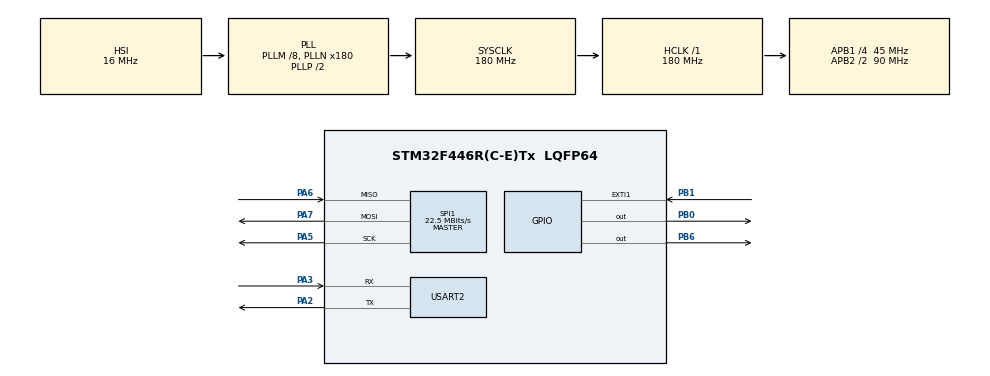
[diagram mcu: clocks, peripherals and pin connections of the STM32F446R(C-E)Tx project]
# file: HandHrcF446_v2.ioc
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Mcu.Family=STM32F4
Mcu.Name=STM32F446R(C-E)Tx
Mcu.Package=LQFP64
NVIC.EXTI1_IRQn=true\:0\:0\:false\:false\:true\:true\:true\:true
NVIC.PriorityGroup=NVIC_PRIORITYGROUP_4
NVIC.TIM2_IRQn=true\:0\:0\:false\:false\:true\:true\:true\:true
PA13.Mode=Serial_Wire
PA13.Signal=SYS_JTMS-SWDIO
PA14.Mode=Serial_Wire
PA14.Signal=SYS_JTCK-SWCLK
PA2.Mode=Asynchronous
PA2.Signal=USART2_TX
PA3.Mode=Asynchronous
PA3.Signal=USART2_RX
PA4.Signal=SPI1_NSS
PA5.Mode=Full_Duplex_Master
PA5.Signal=SPI1_SCK
PA6.Mode=Full_Duplex_Master
PA6.Signal=SPI1_MISO
PA7.Mode=Full_Duplex_Master
PA7.Signal=SPI1_MOSI
PB0.PinState=GPIO_PIN_SET
PB0.Signal=GPIO_Output
PB1.GPIO_ModeDefaultEXTI=GPIO_MODE_IT_FALLING
PB1.GPIO_PuPd=GPIO_PULLUP
PB1.Signal=GPXTI1
PB6.PinState=GPIO_PIN_SET
PB6.Signal=GPIO_Output
ProjectManager.HeapSize=0x200
ProjectManager.StackSize=0x400
ProjectManager.TargetToolchain=STM32CubeIDE
RCC.AHBFreq_Value=180000000
RCC.APB1CLKDivider=RCC_HCLK_DIV4
RCC.APB1Freq_Value=45000000
RCC.APB1TimFreq_Value=90000000
RCC.APB2CLKDivider=RCC_HCLK_DIV2
RCC.APB2Freq_Value=90000000
RCC.APB2TimFreq_Value=180000000
RCC.CortexFreq_Value=180000000
RCC.HCLKFreq_Value=180000000
RCC.PLLM=8
RCC.PLLN=180
RCC.SYSCLKFreq_VALUE=180000000
RCC.SYSCLKSource=RCC_SYSCLKSOURCE_PLLCLK
RCC.USBFreq_Value=180000000
RCC.VCOOutputFreq_Value=360000000
SPI1.BaudRatePrescaler=SPI_BAUDRATEPRESCALER_4
SPI1.CalculateBaudRate=22.5 MBits/s
SPI1.Direction=SPI_DIRECTION_2LINES
SPI1.Mode=SPI_MODE_MASTER
SPI1.VirtualType=VM_MASTER
TIM2.Period=15
TIM2.Prescaler=999
USART2.VirtualMode=VM_ASYNC
VP_TIM2_VS_ClockSourceINT.Mode=Internal
board=custom

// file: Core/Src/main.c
/* USER CODE BEGIN Header */
/**
  ******************************************************************************
  * @file           : main.c
  * @brief          : Main program body
  ******************************************************************************
  * @attention
  *
  * Copyright (c) 2026 STMicroelectronics.
  * All rights reserved.
  *
  * This software is licensed under terms that can be found in the LICENSE file
  * in the root directory of this software component.
  * If no LICENSE file comes with this software, it is provided AS-IS.
  *
  ******************************************************************************
  */
/* USER CODE END Header */
#include "main.h"
#include "spi.h"
#include "tim.h"
#include "usart.h"
#include "gpio.h"

/* USER CODE BEGIN Includes */

#include <stdio.h>      // For printf
#include <string.h>     // <--- REQUIRED for memset
#include "soes_test.h"
#include "esc_sheet.h"
#include "ecat_slv.h"   // <--- Fixes "implicit declaration of library functions"

/* USER CODE END Includes */

/* USER CODE BEGIN PD */
#warning "BUILDING V2"

/* USER CODE END PD */

void SystemClock_Config(void);
/* USER CODE BEGIN PFP */

void LAN9252_SPI_ProofOfLife(void);
void LAN9252_WriteReadback_Test(void);

/* USER CODE END PFP */

/* USER CODE BEGIN 0 */

// --- ETHERCAT VARIABLES ---
static esc_cfg_t soes_cfg;
//extern const void *SDOobjects; // Updated name

// --- REQUIRED CALLBACKS (Must exist to satisfy Linker) ---
// These are called by the library to read/write hardware pins.
// For now, we leave them empty because we handle data in the main loop.
void cb_get_inputs(void) {
    // This function is called before the EtherCAT frame is sent back.
    // You can read GPIOs or Encoders here if you want strict timing.
}

void cb_set_outputs(void) {
    // This function is called after an EtherCAT frame is received.
    // You can write to Motors or GPIOs here.
}

// --- INIT WRAPPER ---
void soes_init(void) {
    memset(&soes_cfg, 0, sizeof(soes_cfg));
    soes_cfg.user_arg = (void*)SDOobjects; // Updated name
    soes_cfg.watchdog_cnt = 1500;

    // Pass the callbacks to the configuration
    // (Some SOES versions pick these up automatically, but this is safe)
    ecat_slv_init(&soes_cfg);
}

// --- LOOP WRAPPER ---
void soes(void) {
    ecat_slv();
}

/* USER CODE END 0 */

int main(void)
{

  /* MCU Configuration--------------------------------------------------------*/

  /* Reset of all peripherals, Initializes the Flash interface and the Systick. */
  HAL_Init();

  /* Configure the system clock */
  SystemClock_Config();

  /* Initialize all configured peripherals */
  MX_GPIO_Init();
  MX_USART2_UART_Init();
  MX_TIM2_Init();
  MX_SPI1_Init();
  /* USER CODE BEGIN 2 */

  printf("code started !\r\n");
  LAN9252_SPI_ProofOfLife();
  LAN9252_WriteReadback_Test();

  // --- STEP 1: RUN THE BENCHMARK ---
  // This will take ~5 seconds, print the result, then continue.
  run_spi_benchmark();

  // --- STEP 2: INIT ETHERCAT ---
  soes_init();
  SOES_Init_Object_Dictionary();

  /* USER CODE END 2 */

  /* Infinite loop */
  /* USER CODE BEGIN WHILE */
  while (1)
  {
//	  SOES_Benchmark_15Motors();
//	  SOES_Benchmark_SDO();
//	  SOES_Benchmark_SDO_15Motors();
	  soes();

    /* USER CODE END WHILE */

  }
}

void SystemClock_Config(void)
{
  RCC_OscInitTypeDef RCC_OscInitStruct = {0};
  RCC_ClkInitTypeDef RCC_ClkInitStruct = {0};

  /** Configure the main internal regulator output voltage
  */
  __HAL_RCC_PWR_CLK_ENABLE();
  __HAL_PWR_VOLTAGESCALING_CONFIG(PWR_REGULATOR_VOLTAGE_SCALE1);

  /** Initializes the RCC Oscillators according to the specified parameters
  * in the RCC_OscInitTypeDef structure.
  */
  RCC_OscInitStruct.OscillatorType = RCC_OSCILLATORTYPE_HSI;
  RCC_OscInitStruct.HSIState = RCC_HSI_ON;
  RCC_OscInitStruct.HSICalibrationValue = RCC_HSICALIBRATION_DEFAULT;
  RCC_OscInitStruct.PLL.PLLState = RCC_PLL_ON;
  RCC_OscInitStruct.PLL.PLLSource = RCC_PLLSOURCE_HSI;
  RCC_OscInitStruct.PLL.PLLM = 8;
  RCC_OscInitStruct.PLL.PLLN = 180;
  RCC_OscInitStruct.PLL.PLLP = RCC_PLLP_DIV2;
  RCC_OscInitStruct.PLL.PLLQ = 2;
  RCC_OscInitStruct.PLL.PLLR = 2;
  if (HAL_RCC_OscConfig(&RCC_OscInitStruct) != HAL_OK)
  {
    Error_Handler();
  }

  /** Activate the Over-Drive mode
  */
  if (HAL_PWREx_EnableOverDrive() != HAL_OK)
  {
    Error_Handler();
  }

  /** Initializes the CPU, AHB and APB buses clocks
  */
  RCC_ClkInitStruct.ClockType = RCC_CLOCKTYPE_HCLK|RCC_CLOCKTYPE_SYSCLK
                              |RCC_CLOCKTYPE_PCLK1|RCC_CLOCKTYPE_PCLK2;
  RCC_ClkInitStruct.SYSCLKSource = RCC_SYSCLKSOURCE_PLLCLK;
  RCC_ClkInitStruct.AHBCLKDivider = RCC_SYSCLK_DIV1;
  RCC_ClkInitStruct.APB1CLKDivider = RCC_HCLK_DIV4;
  RCC_ClkInitStruct.APB2CLKDivider = RCC_HCLK_DIV2;

  if (HAL_RCC_ClockConfig(&RCC_ClkInitStruct, FLASH_LATENCY_5) != HAL_OK)
  {
    Error_Handler();
  }
}

void Error_Handler(void)
{
  __disable_irq();
  while (1)
  {
  }
}
